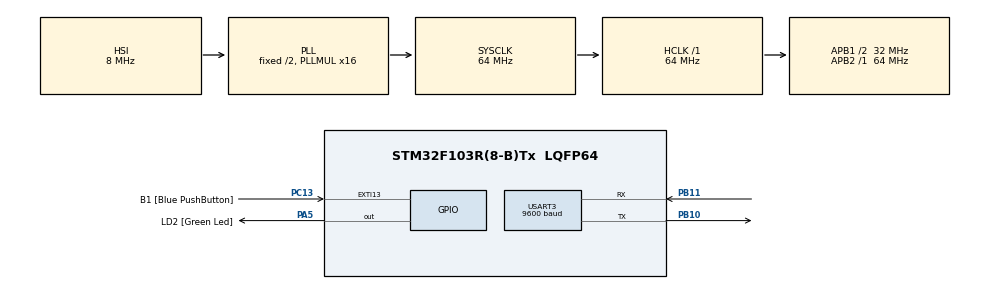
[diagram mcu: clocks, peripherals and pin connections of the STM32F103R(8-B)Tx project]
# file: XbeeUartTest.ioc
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Mcu.Family=STM32F1
Mcu.Name=STM32F103R(8-B)Tx
Mcu.Package=LQFP64
NVIC.EXTI15_10_IRQn=true\:0\:0\:false\:false\:true\:true\:true
NVIC.PriorityGroup=NVIC_PRIORITYGROUP_4
NVIC.USART3_IRQn=true\:0\:0\:false\:false\:true\:true\:true
PA13.GPIO_Label=TMS
PA13.Mode=Serial_Wire
PA13.Signal=SYS_JTMS-SWDIO
PA14.GPIO_Label=TCK
PA14.Mode=Serial_Wire
PA14.Signal=SYS_JTCK-SWCLK
PA2.GPIO_Label=USART_TX
PA2.GPIO_Mode=GPIO_MODE_AF_PP
PA2.GPIO_PuPd=GPIO_NOPULL
PA2.GPIO_Speed=GPIO_SPEED_FREQ_LOW
PA2.Signal=USART2_TX
PA3.GPIO_Label=USART_RX
PA3.GPIO_Mode=GPIO_MODE_AF_PP
PA3.GPIO_PuPd=GPIO_NOPULL
PA3.GPIO_Speed=GPIO_SPEED_FREQ_LOW
PA3.Signal=USART2_RX
PA5.GPIO_Label=LD2 [Green Led]
PA5.GPIO_ModeDefaultOutputPP=GPIO_MODE_OUTPUT_PP
PA5.GPIO_PuPd=GPIO_NOPULL
PA5.GPIO_Speed=GPIO_SPEED_FREQ_LOW
PA5.Signal=GPIO_Output
PB10.Mode=Asynchronous
PB10.Signal=USART3_TX
PB11.Mode=Asynchronous
PB11.Signal=USART3_RX
PB3.GPIO_Label=SWO
PB3.Signal=SYS_JTDO-TRACESWO
PC13-TAMPER-RTC.GPIO_Label=B1 [Blue PushButton]
PC13-TAMPER-RTC.GPIO_PuPd=GPIO_NOPULL
PC13-TAMPER-RTC.Signal=GPXTI13
PC14-OSC32_IN.Mode=LSE-External-Oscillator
PC14-OSC32_IN.Signal=RCC_OSC32_IN
PC15-OSC32_OUT.Mode=LSE-External-Oscillator
PC15-OSC32_OUT.Signal=RCC_OSC32_OUT
PD0-OSC_IN.Mode=HSE-External-Clock-Source
PD0-OSC_IN.Signal=RCC_OSC_IN
PD1-OSC_OUT.Mode=HSE-External-Clock-Source
PD1-OSC_OUT.Signal=RCC_OSC_OUT
ProjectManager.HeapSize=0x200
ProjectManager.StackSize=0x400
ProjectManager.TargetToolchain=STM32CubeIDE
RCC.AHBFreq_Value=64000000
RCC.APB1CLKDivider=RCC_HCLK_DIV2
RCC.APB1Freq_Value=32000000
RCC.APB1TimFreq_Value=64000000
RCC.APB2Freq_Value=64000000
RCC.APB2TimFreq_Value=64000000
RCC.HCLKFreq_Value=64000000
RCC.PLLMUL=RCC_PLL_MUL16
RCC.RTCClockSelection=RCC_RTCCLKSOURCE_LSE
RCC.SYSCLKFreq_VALUE=64000000
RCC.SYSCLKSource=RCC_SYSCLKSOURCE_PLLCLK
RCC.USBFreq_Value=64000000
USART3.BaudRate=9600
USART3.Parity=PARITY_NONE
USART3.VirtualMode=VM_ASYNC
USART3.WordLength=WORDLENGTH_8B
board=NUCLEO-F103RB

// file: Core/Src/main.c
/* USER CODE BEGIN Header */
/**
  ******************************************************************************
  * @file           : main.c
  * @brief          : Main program body
  ******************************************************************************
  * @attention
  *
  * <h2><center>&copy; Copyright (c) 2021 STMicroelectronics.
  * All rights reserved.</center></h2>
  *
  * This software component is licensed by ST under BSD 3-Clause license,
  * the "License"; You may not use this file except in compliance with the
  * License. You may obtain a copy of the License at:
  *                        opensource.org/licenses/BSD-3-Clause
  *
  ******************************************************************************
  */
/* USER CODE END Header */
#include "main.h"

/* USER CODE BEGIN PD */
#define BUFFER_LENGTH 50

/* USER CODE END PD */

UART_HandleTypeDef huart3;

/* USER CODE BEGIN PV */
uint8_t uartBufferTX[BUFFER_LENGTH];
uint8_t uartBufferRX[BUFFER_LENGTH];
uint8_t uartLength = 2;
uint8_t uartByteRX=0;
uint8_t dataReceived =0;
uint8_t i = 0;

uint8_t uartDataSample[30];

uint8_t loopCounter_Main=0;

uint8_t command[25];
uint8_t position=0;
uint32_t commandCounter = 0;
uint8_t commandCounterString[10];
/* USER CODE END PV */

void SystemClock_Config(void);
static void MX_GPIO_Init(void);
static void MX_USART3_UART_Init(void);

int main(void)
{

  /* MCU Configuration--------------------------------------------------------*/

  /* Reset of all peripherals, Initializes the Flash interface and the Systick. */
  HAL_Init();

  /* Configure the system clock */
  SystemClock_Config();

  /* Initialize all configured peripherals */
  MX_GPIO_Init();
  MX_USART3_UART_Init();
  /* USER CODE BEGIN 2 */
  HAL_UART_Receive_IT(&huart3, &uartBufferRX[0], 24);// length of the standard transmission

  /* USER CODE END 2 */

  /* Infinite loop */
  while (1)
  {

    /* USER CODE BEGIN 3 */
	  loopCounter_Main++;
  }
  /* USER CODE END 3 */
}

void SystemClock_Config(void)
{
  RCC_OscInitTypeDef RCC_OscInitStruct = {0};
  RCC_ClkInitTypeDef RCC_ClkInitStruct = {0};

  /** Initializes the RCC Oscillators according to the specified parameters
  * in the RCC_OscInitTypeDef structure.
  */
  RCC_OscInitStruct.OscillatorType = RCC_OSCILLATORTYPE_HSI;
  RCC_OscInitStruct.HSIState = RCC_HSI_ON;
  RCC_OscInitStruct.HSICalibrationValue = RCC_HSICALIBRATION_DEFAULT;
  RCC_OscInitStruct.PLL.PLLState = RCC_PLL_ON;
  RCC_OscInitStruct.PLL.PLLSource = RCC_PLLSOURCE_HSI_DIV2;
  RCC_OscInitStruct.PLL.PLLMUL = RCC_PLL_MUL16;
  if (HAL_RCC_OscConfig(&RCC_OscInitStruct) != HAL_OK)
  {
    Error_Handler();
  }
  /** Initializes the CPU, AHB and APB buses clocks
  */
  RCC_ClkInitStruct.ClockType = RCC_CLOCKTYPE_HCLK|RCC_CLOCKTYPE_SYSCLK
                              |RCC_CLOCKTYPE_PCLK1|RCC_CLOCKTYPE_PCLK2;
  RCC_ClkInitStruct.SYSCLKSource = RCC_SYSCLKSOURCE_PLLCLK;
  RCC_ClkInitStruct.AHBCLKDivider = RCC_SYSCLK_DIV1;
  RCC_ClkInitStruct.APB1CLKDivider = RCC_HCLK_DIV2;
  RCC_ClkInitStruct.APB2CLKDivider = RCC_HCLK_DIV1;

  if (HAL_RCC_ClockConfig(&RCC_ClkInitStruct, FLASH_LATENCY_2) != HAL_OK)
  {
    Error_Handler();
  }
}

static void MX_USART3_UART_Init(void)
{

  huart3.Instance = USART3;
  huart3.Init.BaudRate = 9600;
  huart3.Init.WordLength = UART_WORDLENGTH_8B;
  huart3.Init.StopBits = UART_STOPBITS_1;
  huart3.Init.Parity = UART_PARITY_NONE;
  huart3.Init.Mode = UART_MODE_TX_RX;
  huart3.Init.HwFlowCtl = UART_HWCONTROL_NONE;
  huart3.Init.OverSampling = UART_OVERSAMPLING_16;
  if (HAL_UART_Init(&huart3) != HAL_OK)
  {
    Error_Handler();
  }

}

static void MX_GPIO_Init(void)
{
  GPIO_InitTypeDef GPIO_InitStruct = {0};

  /* GPIO Ports Clock Enable */
  __HAL_RCC_GPIOC_CLK_ENABLE();
  __HAL_RCC_GPIOD_CLK_ENABLE();
  __HAL_RCC_GPIOA_CLK_ENABLE();
  __HAL_RCC_GPIOB_CLK_ENABLE();

  /*Configure GPIO pin Output Level */
  HAL_GPIO_WritePin(LD2_GPIO_Port, LD2_Pin, GPIO_PIN_RESET);

  /*Configure GPIO pin : B1_Pin */
  GPIO_InitStruct.Pin = B1_Pin;
  GPIO_InitStruct.Mode = GPIO_MODE_IT_RISING;
  GPIO_InitStruct.Pull = GPIO_NOPULL;
  HAL_GPIO_Init(B1_GPIO_Port, &GPIO_InitStruct);

  /*Configure GPIO pins : USART_TX_Pin USART_RX_Pin */
  GPIO_InitStruct.Pin = USART_TX_Pin|USART_RX_Pin;
  GPIO_InitStruct.Mode = GPIO_MODE_AF_PP;
  GPIO_InitStruct.Speed = GPIO_SPEED_FREQ_LOW;
  HAL_GPIO_Init(GPIOA, &GPIO_InitStruct);

  /*Configure GPIO pin : LD2_Pin */
  GPIO_InitStruct.Pin = LD2_Pin;
  GPIO_InitStruct.Mode = GPIO_MODE_OUTPUT_PP;
  GPIO_InitStruct.Pull = GPIO_NOPULL;
  GPIO_InitStruct.Speed = GPIO_SPEED_FREQ_LOW;
  HAL_GPIO_Init(LD2_GPIO_Port, &GPIO_InitStruct);

  /* EXTI interrupt init*/
  HAL_NVIC_SetPriority(EXTI15_10_IRQn, 0, 0);
  HAL_NVIC_EnableIRQ(EXTI15_10_IRQn);

}

/* USER CODE BEGIN 4 */

//uart interrupt recieve
void HAL_UART_RxCpltCallback(UART_HandleTypeDef * huart)
{
	switch (uartBufferRX[3]){
		case 0x92:	//0x92 is the data sample

		case 0x97: //0x97 is the response from a remote AT command

		default:
			break;
	}

	return;
/*
	if (cliCharRX == '\r')
	{
		HAL_UART_Transmit(&huart3, "\n\r", 1, 100);

	}
	else if (cliCharRX == '\177')
	{
      position--;
	}
	else
	{
		command[position] = cliCharRX;
		position++;
	}
	*/

}

/* USER CODE END 4 */

void Error_Handler(void)
{
}

/************************ (C) COPYRIGHT STMicroelectronics *****END OF FILE****/
